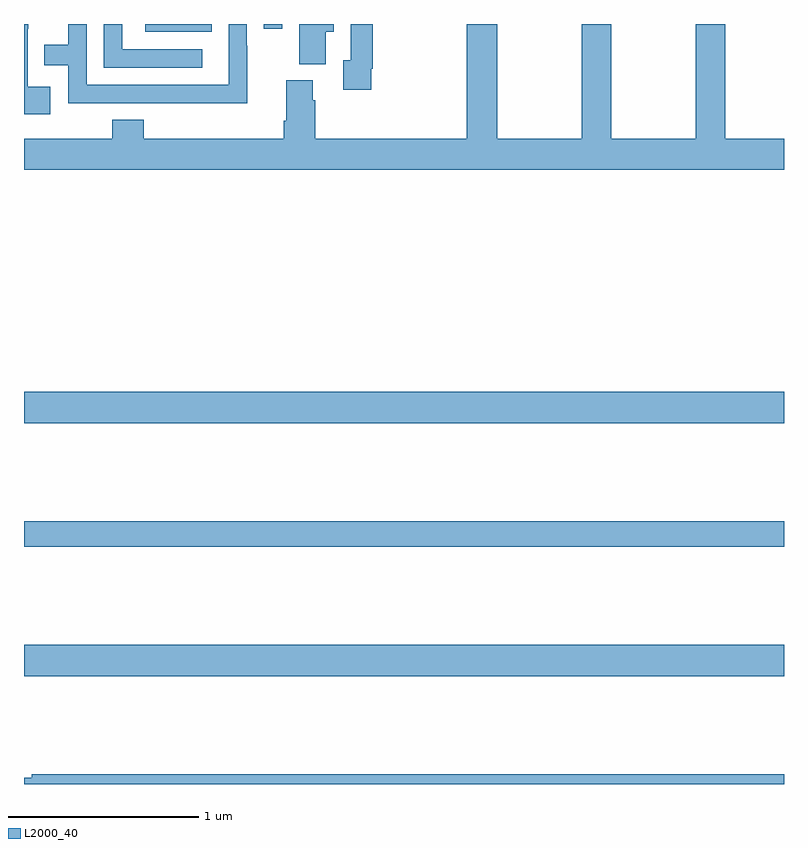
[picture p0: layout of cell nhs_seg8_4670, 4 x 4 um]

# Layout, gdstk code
import gdstk
lib = gdstk.Library(unit=1e-6, precision=1e-09)
def R(c, l, rs):  # rectangles x0, y0, x1, y1
    for r in rs: c.add(gdstk.rectangle(r[:2], r[2:], *l))
def P(c, l, *ps):  # polygons
    for p in ps: c.add(gdstk.Polygon(p, *l))
L2000_40 = (2000, 40)

nhs_seg8_4670 = lib.new_cell('nhs_seg8_4670')
R(nhs_seg8_4670, L2000_40, [(393,1148.468,397,1148.632), (393,1149.148,397,1149.284), (393,1149.8,397,1149.964), (393.639,1151.858,393.988,1151.9), (394.263,1151.874,394.359,1151.9)])
P(nhs_seg8_4670, L2000_40, [(397,1151.296),(396.69,1151.296),(396.69,1151.9),(396.535,1151.9),(396.535,1151.296),(396.09,1151.296),(396.09,1151.9),(395.935,1151.9),(395.935,1151.296),(395.49,1151.296),(395.49,1151.9),(395.33,1151.9),(395.33,1151.296),(394.532,1151.296),(394.532,1151.498),(394.519,1151.498),(394.519,1151.604),(394.379,1151.604),(394.379,1151.392),(394.367,1151.392),(394.367,1151.296),(393.629,1151.296),(393.629,1151.395),(393.464,1151.395),(393.464,1151.296),(393,1151.296),(393,1151.132),(397,1151.132)],
  [(394.588,1151.858),(394.63,1151.858),(394.63,1151.9),(394.448,1151.9),(394.448,1151.689),(394.588,1151.689)],
  [(393.139,1151.571),(393.021,1151.571),(393.021,1151.875),(393.023,1151.875),(393.023,1151.9),(393,1151.9),(393,1151.424),(393.139,1151.424)],
  [(394.828,1151.665),(394.835,1151.665),(394.835,1151.9),(394.719,1151.9),(394.719,1151.709),(394.679,1151.709),(394.679,1151.553),(394.828,1151.553)],
  [(394.175,1151.786),(394.173,1151.786),(394.173,1151.9),(394.077,1151.9),(394.077,1151.58),(393.33,1151.58),(393.33,1151.9),(393.233,1151.9),(393.233,1151.791),(393.106,1151.791),(393.106,1151.682),(393.234,1151.682),(393.234,1151.484),(393.712,1151.484),(393.712,1151.483),(394.175,1151.483)],
  [(393.937,1151.766),(393.516,1151.766),(393.516,1151.9),(393.42,1151.9),(393.42,1151.67),(393.937,1151.67)],
  [(397,1147.952),(393.04,1147.952),(393.04,1147.933),(393,1147.933),(393,1147.9),(397,1147.9)])

lib.write_gds('nhs_seg8_4670.gds')
